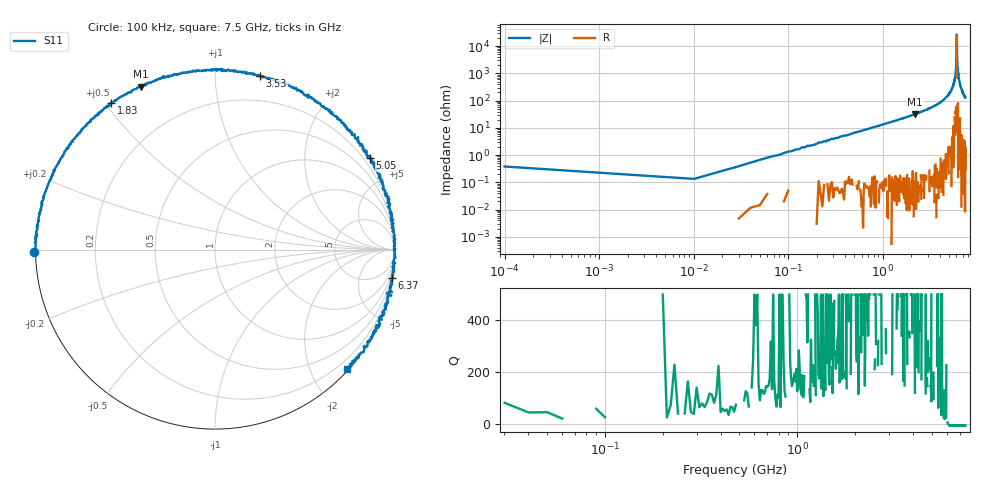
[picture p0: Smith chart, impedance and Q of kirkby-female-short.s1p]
# Hz S RI R 50.000000
! FREQ  re:S1  1  im:S1  1
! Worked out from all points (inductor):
!   751 points, 100 kHz to 7.5 GHz, reference 50 ohm
!   read as one part to ground: L = 2.11 nH near 30.1 MHz
!   highest Q = 568 at 2.2 GHz (marker M1), where L = 2.32 nH
!   self-resonance near 6.1 GHz
!   S11 on the Smith chart (normalised r, x): 100 kHz: -0.00, -0.01; 1.83 GHz: -0.00, +0.52; 3.53 GHz: 0.00, +1.29; 5.05 GHz: -0.01, +3.66; 6.37 GHz: -0, -12; 7.5 GHz: 0.04, -2.60
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100000  -1.008 -0.0129
5.400928e8  -0.9585 0.2773
9.400875e8  -0.8806 0.4671
1.120085e9  -0.8339 0.5498
1.420081e9  -0.7416 0.6717
1.830076e9  -0.5799 0.8182
1.880075e9  -0.5598 0.8312
2.200071e9  -0.415 0.9082
2.440067e9  -0.3087 0.9501
2.820062e9  -0.1071 0.9911
3.080059e9  0.0195 1.004
3.530053e9  0.2509 0.9663
3.75005e9  0.3606 0.9342
4.010047e9  0.4758 0.8817
4.240043e9  0.5731 0.8165
4.390041e9  0.6371 0.7704
4.690037e9  0.7526 0.6663
4.800036e9  0.7825 0.6177
5.050033e9  0.8622 0.5091
5.300029e9  0.9222 0.4066
5.630025e9  0.9638 0.2391
5.960021e9  0.995 0.0685
6.370015e9  0.9875 -0.159
6.570012e9  0.9562 -0.2417
6.940007e9  0.9194 -0.4182
7.240003e9  0.8291 -0.5698
7.450001e9  0.7549 -0.6432
7.5e9  0.7351 -0.6633
